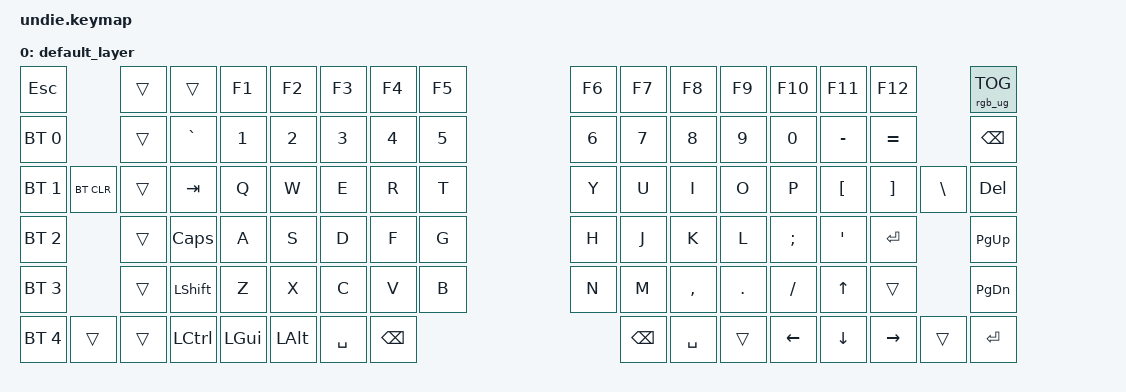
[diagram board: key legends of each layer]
#include <behaviors.dtsi>
#include <dt-bindings/zmk/keys.h>
#include <dt-bindings/zmk/bt.h>
#include <dt-bindings/zmk/ext_power.h>
#include <dt-bindings/zmk/rgb.h>
#include <dt-bindings/zmk/outputs.h>

/ {
    keymap {
        compatible = "zmk,keymap";
		
		default_layer {
// ESC                  []      []      F1      F2      F3      F4      F5                                                              F6      F7      F8      F9      F10     F11    F12              RGB TOG
// BT 0                 []      tilda   1       2       3       4       5                                                               6       7       8       9       0       -      =                BSPC
// BT 1         BT CLR  []      Tab     Q       W       E       R       T                                                               Y       U       I       O       P       [      ]        BKSL    DEL
// BT 2                 []      Caps    A       S       D       F       G                                                               H       J       K       L       ;       '      ENT              PG UP
// BT 3                 []      Shift   Z       X       C       V       B                                                               N       M       ,       .       /       ↑      []               PG DN
// BT 4         []      []      Ctrl    Win     Alt                     SPACE   SPACE                                           SPACE   SPACE                   []      ←       ↓      →        []      ENT

			bindings = <
&kp ESC                                         &trans                  &trans                  &kp F1                  &kp F2                  &kp F3                  &kp F4                  &kp F5                                                                                                                                                                                          &kp F6                  &kp F7                  &kp F8                  &kp F9                  &kp F10                 &kp F11                 &kp F12                                         &rgb_ug RGB_TOG
&bt BT_SEL 0                                    &trans                  &kp GRAVE               &kp N1                  &kp N2                  &kp N3                  &kp N4                  &kp N5                                                                                                                                                                                          &kp N6                  &kp N7                  &kp N8                  &kp N9                  &kp N0                  &kp MINUS               &kp EQUAL                                       &kp BSPC
&bt BT_SEL 1            &bt BT_CLR              &trans                  &kp TAB                 &kp Q                   &kp W                   &kp E                   &kp R                   &kp T                                                                                                                                                                                           &kp Y                   &kp U                   &kp I                   &kp O                   &kp P                   &kp LEFT_BRACKET        &kp RIGHT_BRACKET      &kp BSLH                 &kp DEL
&bt BT_SEL 2                                    &trans                  &kp CAPS                &kp A                   &kp S                   &kp D                   &kp F                   &kp G                                                                                                                                                                                           &kp H                   &kp J                   &kp K                   &kp L                   &kp SEMI                &kp SINGLE_QUOTE        &kp RETURN                                      &kp PG_UP
&bt BT_SEL 3                                    &trans                  &kp LSHIFT              &kp Z                   &kp X                   &kp C                   &kp V                   &kp B                                                                                                                                                                                           &kp N                   &kp M                   &kp COMMA               &kp PERIOD              &kp SLASH               &kp UP                  &trans                                          &kp PG_DN
&bt BT_SEL 4            &trans                  &trans                  &kp LCTRL               &kp LGUI                &kp LALT                                                                &kp SPACE               &kp BSPC                                                                                                                                       &kp BSPC                 &kp SPACE                                                               &trans                  &kp LEFT                &kp DOWN                &kp RIGHT              &trans                   &kp RETURN
            >;
		};
    }; 
};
